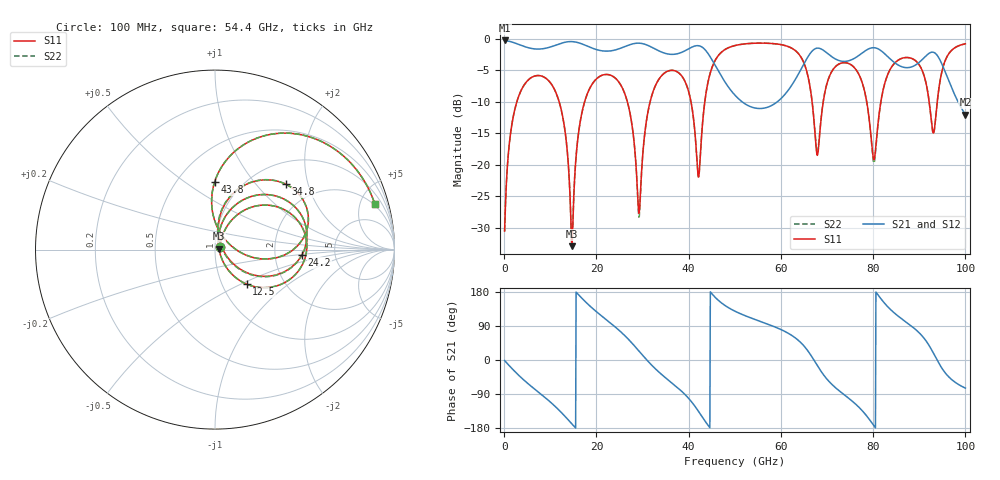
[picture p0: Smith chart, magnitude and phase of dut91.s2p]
! Touchstone file exported from HFSS 2026.1.0
!  File:  C:/ffzhzh/LocalFiles/Ansys_Project_Files/temp_train_TSV_RDL_91_1783453342_28540.aedt
!  Generated:  03:56:05 AM Jul  8, 2026
!  Design:  TSV_RDL
!  Project:  temp_train_TSV_RDL_91_1783453342_28540
! Variables:
!  h_bsmrdl = 2.92um
!  h_ox = 20um
!  h_rdl = 5um
!  h_sub = 76.25um
!  h_tmrdl = 2.45um
!  h_tsv = 76.25um
!  h_via = 3um
!  l_bsmrdl = 491.03um
!  l_sub = 3720.91um
!  l_tmrdl = 430.77um
!  m_sub = 200um
!  pitch = 46.79um
!  r_tsv = 8.43um
!  s_tmrdl = 10um
!  w_bsmrdl = 28.27um
!  w_sub = 500um
!  w_tmrdl = 13.31um
!  x_tsv_center1 = 437.425um
!  x_tsv_center2 = 956.725um
!  x_tsv_center3 = 1400.805um
!  x_tsv_center4 = 1920.105um
!  x_tsv_center5 = 2364.185um
!  x_tsv_center6 = 2883.485um
# GHz S MA R 50.000000
! Terminal data exported
! Port[1] = TM_RDL1_1_T1
! Port[2] = TM_RDL5_1_T1
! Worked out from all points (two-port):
!   1000 points, 100 MHz to 100 GHz, reference 50 ohm
!   highest |S21| = -0.23 dB at 100 MHz (marker M1); lowest = -12.0 dB at 100 GHz (marker M2)
!   |S21| within 3 dB of the highest: start of sweep to 45 GHz; 75.54 GHz to 83.79 GHz (8.254 GHz wide, 10.4 % of centre) (the widest 2 of 4)
!   lowest |S11| = -33.0 dB at 14.7 GHz (marker M3), VSWR 1.05, Z = 52.3 + j0.485 ohm
!   |S11| at or under -10 dB: 11.93 GHz to 17.44 GHz (5.514 GHz wide, 37.5 % of centre); 26.72 GHz to 31.64 GHz (4.919 GHz wide, 16.9 % of centre); 78.61 GHz to 81.67 GHz (3.057 GHz wide, 3.82 % of centre) (the widest 3 of 7)
!   |S22| runs from -32.8 to -0.7 dB; largest |S21 - S12| = 2.5e-14
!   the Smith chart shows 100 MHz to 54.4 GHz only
!   S11 on the Smith chart (normalised r, x): 100 MHz: 1.05, +0.03; 12.5 GHz: 1.30, -0.54; 24.2 GHz: 2.86, -0.22; 34.8 GHz: 1.43, +1.46; 43.8 GHz: 0.75, +0.66; 54.4 GHz: 1.88, +6.68
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0.1  0.02967 27.0  0.9738 -1.4  0.9738 -1.4  0.02967 27.0
! Gamma 0 0 0 0
! Port Impedance 50 0 50 0
4.1  0.4173 35.1  0.8789 -51.0  0.8789 -51.0  0.4172 35.1
12.5  0.2613 -47.5  0.9279 -139.8  0.9279 -139.8  0.2613 -47.5
14.7  0.02252 11.9  0.9536 -168.8  0.9536 -168.8  0.02285 12.0
16.8  0.2532 67.4  0.9159 163.6  0.9159 163.6  0.2533 67.3
24.2  0.4847 -3.6  0.8205 86.0  0.8205 86.0  0.4849 -3.8
29.2  0.04116 15.0  0.9268 24.1  0.9268 24.1  0.03831 13.7
33.4  0.4694 55.7  0.8094 -30.2  0.8094 -30.2  0.4688 56.0
34.8  0.5377 42.5  0.7713 -45.0  0.7713 -45.0  0.5372 42.7
42.1  0.07982 34.4  0.8849 -134.8  0.8849 -134.8  0.08033 34.7
43.8  0.378 90.3  0.8027 -165.5  0.8027 -165.5  0.3783 90.2
50.1  0.8883 35.3  0.3556 128.4  0.3556 128.4  0.8883 35.3
54.4  0.9261 15.8  0.2825 106.9  0.2825 106.9  0.926 15.9
66.7  0.3314 -59.8  0.7964 8.8  0.7964 8.8  0.3334 -58.7
68  0.1218 -1.5  0.8466 -16.6  0.8466 -16.6  0.1289 -2.2
70  0.4436 29.0  0.7735 -50.6  0.7735 -50.6  0.4455 28.1
75.9  0.5934 -19.4  0.7005 -113.1  0.7005 -113.1  0.5937 -20.0
80.2  0.1094 9.0  0.8529 -173.8  0.8529 -173.8  0.1033 8.6
83.4  0.5467 39.2  0.7106 137.6  0.7106 137.6  0.5455 39.5
88.4  0.6997 0.2  0.601 88.6  0.601 88.6  0.6993 0.2
93.3  0.1935 31.4  0.7778 12.7  0.7778 12.7  0.192 31.6
100  0.9162 10.4  0.2501 -74.3  0.2501 -74.3  0.9159 10.4
